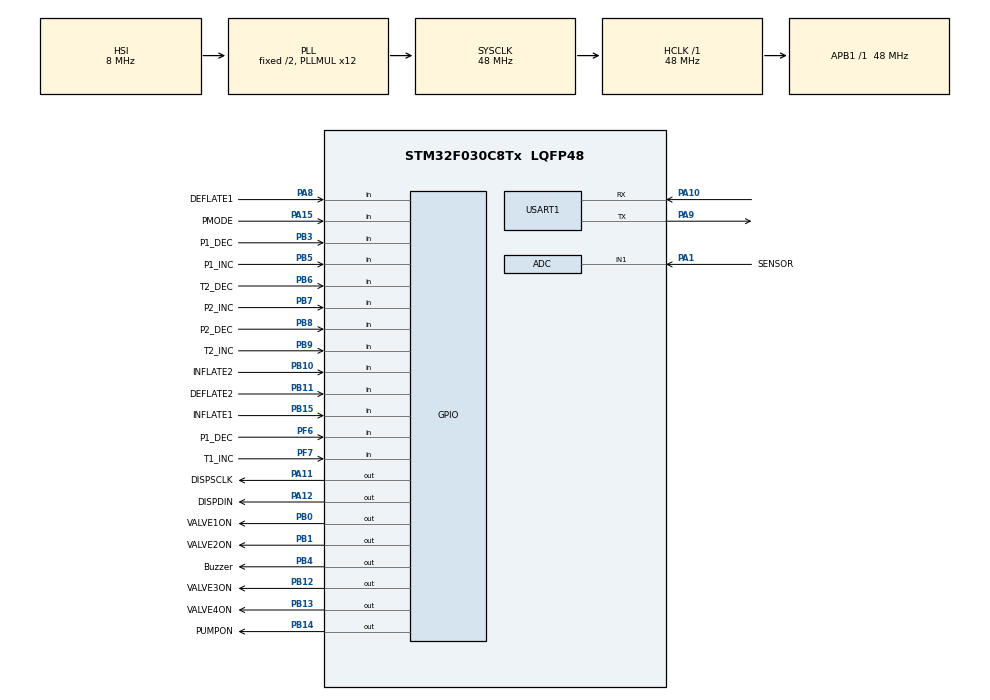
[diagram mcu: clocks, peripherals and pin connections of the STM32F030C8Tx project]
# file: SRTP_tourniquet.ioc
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ADC.ClockPrescaler=ADC_CLOCK_SYNC_PCLK_DIV4
Mcu.Family=STM32F0
Mcu.Name=STM32F030C8Tx
Mcu.Package=LQFP48
NVIC.ADC1_IRQn=true\:0\:0\:false\:false\:true\:true\:true\:true
NVIC.TIM6_IRQn=true\:0\:0\:false\:false\:true\:true\:true\:true
NVIC.USART1_IRQn=true\:0\:0\:false\:false\:true\:true\:true\:true
PA1.GPIO_Label=SENSOR
PA1.Mode=IN1
PA1.Signal=ADC_IN1
PA10.Mode=Asynchronous
PA10.Signal=USART1_RX
PA11.GPIO_Label=DISPSCLK
PA11.Signal=GPIO_Output
PA12.GPIO_Label=DISPDIN
PA12.Signal=GPIO_Output
PA13.Mode=Serial_Wire
PA13.Signal=SYS_SWDIO
PA14.Mode=Serial_Wire
PA14.Signal=SYS_SWCLK
PA15.GPIO_Label=PMODE
PA15.GPIO_PuPd=GPIO_PULLUP
PA15.Signal=GPIO_Input
PA8.GPIO_Label=DEFLATE1
PA8.GPIO_PuPd=GPIO_PULLUP
PA8.Signal=GPIO_Input
PA9.Mode=Asynchronous
PA9.Signal=USART1_TX
PB0.GPIO_Label=VALVE1ON
PB0.Signal=GPIO_Output
PB1.GPIO_Label=VALVE2ON
PB1.Signal=GPIO_Output
PB10.GPIO_Label=INFLATE2
PB10.GPIO_PuPd=GPIO_PULLUP
PB10.Signal=GPIO_Input
PB11.GPIO_Label=DEFLATE2
PB11.GPIO_PuPd=GPIO_PULLUP
PB11.Signal=GPIO_Input
PB12.GPIO_Label=VALVE3ON
PB12.Signal=GPIO_Output
PB13.GPIO_Label=VALVE4ON
PB13.Signal=GPIO_Output
PB14.GPIO_Label=PUMPON
PB14.Signal=GPIO_Output
PB15.GPIO_Label=INFLATE1
PB15.GPIO_PuPd=GPIO_PULLUP
PB15.Signal=GPIO_Input
PB3.GPIO_Label=P1_DEC
PB3.GPIO_PuPd=GPIO_PULLUP
PB3.Signal=GPIO_Input
PB4.GPIO_Label=Buzzer
PB4.GPIO_PuPd=GPIO_PULLDOWN
PB4.PinState=GPIO_PIN_RESET
PB4.Signal=GPIO_Output
PB5.GPIO_Label=P1_INC
PB5.GPIO_PuPd=GPIO_PULLUP
PB5.Signal=GPIO_Input
PB6.GPIO_Label=T2_DEC
PB6.GPIO_PuPd=GPIO_PULLUP
PB6.Signal=GPIO_Input
PB7.GPIO_Label=P2_INC
PB7.GPIO_PuPd=GPIO_PULLUP
PB7.Signal=GPIO_Input
PB8.GPIO_Label=P2_DEC
PB8.GPIO_PuPd=GPIO_PULLUP
PB8.Signal=GPIO_Input
PB9.GPIO_Label=T2_INC
PB9.GPIO_PuPd=GPIO_PULLUP
PB9.Signal=GPIO_Input
PF0-OSC_IN.Mode=HSE-External-Oscillator
PF0-OSC_IN.Signal=RCC_OSC_IN
PF1-OSC_OUT.Mode=HSE-External-Oscillator
PF1-OSC_OUT.Signal=RCC_OSC_OUT
PF6.GPIO_Label=P1_DEC
PF6.GPIO_PuPd=GPIO_PULLUP
PF6.Signal=GPIO_Input
PF7.GPIO_Label=T1_INC
PF7.GPIO_PuPd=GPIO_PULLUP
PF7.Signal=GPIO_Input
ProjectManager.HeapSize=0x200
ProjectManager.StackSize=0x400
ProjectManager.TargetToolchain=MDK-ARM V5.32
RCC.AHBFreq_Value=48000000
RCC.APB1Freq_Value=48000000
RCC.APB1TimFreq_Value=48000000
RCC.HCLKFreq_Value=48000000
RCC.PLLMUL=RCC_PLL_MUL12
RCC.SYSCLKFreq_VALUE=48000000
RCC.SYSCLKSource=RCC_SYSCLKSOURCE_PLLCLK
TIM6.AutoReloadPreload=TIM_AUTORELOAD_PRELOAD_ENABLE
TIM6.Period=60000
TIM6.Prescaler=48000-1
USART1.VirtualMode-Asynchronous=VM_ASYNC
VP_TIM6_VS_ClockSourceINT.Mode=Enable_Timer
board=custom

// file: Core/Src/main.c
/* USER CODE BEGIN Header */
/**
  ******************************************************************************
  * @file           : main.c
  * @brief          : Main program body
  ******************************************************************************
  * @attention
  *
  * Copyright (c) 2022 STMicroelectronics.
  * All rights reserved.
  *
  * This software is licensed under terms that can be found in the LICENSE file
  * in the root directory of this software component.
  * If no LICENSE file comes with this software, it is provided AS-IS.
  *
  ******************************************************************************
  */
/* USER CODE END Header */
#include "main.h"
#include "adc.h"
#include "tim.h"
#include "usart.h"
#include "gpio.h"

/* USER CODE BEGIN Includes */
#include "key.h"
#include "display.h"
/* USER CODE END Includes */

/* USER CODE BEGIN PTD */
typedef uint8_t u8;
typedef uint16_t u16;
typedef uint32_t u32;
/* USER CODE END PTD */

/* USER CODE BEGIN PV */
//时间变量
u8 setTime = 0;//设定时间
u8 curTime = 0;//当前时间
u8 curPres = 0;//当前压力,0-100kpa
u8 setPres = 0;//设定压力
u8 key;
u8 workStatue =0;//工作状态，未定时为0，开始定时正常工作为1，溢出为2
u8 buzzerWork = 0;//蜂鸣器工作状态，0为不工作，1为工作
/* USER CODE END PV */

void SystemClock_Config(void);

int main(void)
{
  /* USER CODE BEGIN 1 */

	//显示板芯片初始化

  /* USER CODE END 1 */

  /* MCU Configuration--------------------------------------------------------*/

  /* Reset of all peripherals, Initializes the Flash interface and the Systick. */
  HAL_Init();

  /* Configure the system clock */
  SystemClock_Config();

  /* Initialize all configured peripherals */
  MX_GPIO_Init();
  MX_ADC_Init();
  MX_USART1_UART_Init();
  MX_TIM6_Init();
  /* USER CODE BEGIN 2 */
	TM1640_Init();
	u8 isChangePress=0;
	HAL_GPIO_WritePin (GPIOB,GPIO_PIN_14,GPIO_PIN_SET);

  /* Infinite loop */
  /* USER CODE BEGIN WHILE */
  while (1)
  {
    //读取当前压力
	curPres = (u8)Get_Press();

		//扫描按键
		key = KEY_Scan(0);
		if(key)
			{
				buzzerWork =0;
				workStatue=1;
				switch(key)
				{ case KEY_Tdec: //T1-,设定时间-1min
					HAL_TIM_Base_Stop_IT(&htim6);//关闭定时器中断
						__HAL_TIM_CLEAR_FLAG(&htim6,TIM_FLAG_UPDATE);//清除标志位
					if(setTime>0){
						setTime--;
						curTime = setTime ;
					}
						HAL_TIM_Base_Start_IT(&htim6);//打开定时器中断
						break;
					case KEY_Tinc: //T1+,设定时间+1min
						__HAL_TIM_CLEAR_FLAG(&htim6,TIM_FLAG_UPDATE);//清除标志位
						setTime++;
						curTime = setTime ;
						HAL_TIM_Base_Start_IT(&htim6);//打开定时器中断break;
					 break;
					case KEY_Pdec: //P1-
						if(setPres>0)setPres--;break;
					case KEY_Pinc: //P1+
						setPres ++;break;
					case KEY_Pmode:
						if(isChangePress ==0)
						curPres=(u8)curPres*7.5;
						else
							curPres=(u8)curPres/7.5;
					isChangePress =!isChangePress ;
					break;

					//手动充气放气，优先级高于自动充气放气
					case KEY_Inflate:{
					//关闭自动控制中断(待求）
					HAL_GPIO_WritePin (GPIOB,GPIO_PIN_14,GPIO_PIN_SET);
					static u8 presGoal;
					static u8 firstSet=1;
					if(firstSet && isChangePress){
						presGoal=(u8)(curPres/7.5+GAP);
						firstSet = !firstSet ;
					}
					else if(firstSet && !isChangePress ){
						presGoal=curPres+GAP;
						firstSet = !firstSet ;
					}
					if(isChangePress ){
						if(((u8)curPres /7.5)<presGoal+FLAW &&((u8)curPres /7.5)>presGoal-FLAW){
							HAL_GPIO_WritePin (GPIOB,GPIO_PIN_14,GPIO_PIN_RESET);
							presGoal = 0;
							firstSet  = 1;
						}
					}
					else{
						if(curPres<presGoal+FLAW && curPres /7.5>presGoal-FLAW){
							HAL_GPIO_WritePin (GPIOB,GPIO_PIN_14,GPIO_PIN_RESET);
							presGoal = 0;
							firstSet  = 1;
					}
				}
				}
				break;
				case KEY_Deflate:{
					//关闭自动控制中断(待求）
					HAL_GPIO_WritePin (GPIOB,GPIO_PIN_0,GPIO_PIN_SET);
					static u8 presGoal;
					static u8 firstSet=1;
					if(firstSet && isChangePress){
						presGoal=(u8)(curPres/7.5-GAP);
						firstSet = !firstSet ;
					}
					else if(firstSet && !isChangePress ){
						presGoal=curPres-GAP;
						firstSet = !firstSet ;
					}
					if(isChangePress ){
						if(((u8)curPres /7.5)<presGoal+FLAW &&((u8)curPres /7.5)>presGoal-FLAW){
							HAL_GPIO_WritePin (GPIOB,GPIO_PIN_14,GPIO_PIN_RESET);
							presGoal = 0;
							firstSet  = 1;
						}
					}
					else{
						if(curPres<presGoal+FLAW && curPres /7.5>presGoal-FLAW){
							HAL_GPIO_WritePin (GPIOB,GPIO_PIN_14,GPIO_PIN_RESET);
							presGoal = 0;
							firstSet  = 1;
					}
				}
				}
				break;
				}
			}
		else delay_ms(10);
//操纵蜂鸣器工作
		if(buzzerWork ){
			HAL_GPIO_WritePin (GPIOB,GPIO_PIN_4,GPIO_PIN_SET);
			delay_ms(10);
		}
//显示当前工作状态指示灯
		TM1640_lightLCD(0x0D,workStatue);

//四个LCD显示数值
//每个LED组有3个LED，对应地址
		int count=0x00;
		u8 tmp1,tmp2;

		tmp1=curPres%10;
		tmp2 = curPres /10;
		for(count=0x02;count>=0x00;count--){
			TM1640_display (count,tmp1);
			tmp1=tmp2%10;
			tmp2=tmp2/10;
		}

		tmp1=setPres%10;
		tmp2 = setPres /10;
		for(count=0x05;count>0x02;count--){
			TM1640_display (count,tmp1);
			tmp1=tmp2%10;
			tmp2=tmp2/10;
		}

		tmp1=curTime %10;
		tmp2 = curTime  /10;
		for(count=0x08;count>0x05;count--){
			TM1640_display (count,tmp1);
			tmp1=tmp2%10;
			tmp2=tmp2/10;
		}

		tmp1=setTime %10;
		tmp2 = setTime  /10;
		for(count=0x0B;count>0x08;count--){
			TM1640_display (count,tmp1);
			tmp1=tmp2%10;
			tmp2=tmp2/10;
		}
		TM1640_lightLCD(0x0C,3);//其他灯全暗

    /* USER CODE END WHILE */

  }
}

void SystemClock_Config(void)
{
  RCC_OscInitTypeDef RCC_OscInitStruct = {0};
  RCC_ClkInitTypeDef RCC_ClkInitStruct = {0};
  RCC_PeriphCLKInitTypeDef PeriphClkInit = {0};

  /** Initializes the RCC Oscillators according to the specified parameters
  * in the RCC_OscInitTypeDef structure.
  */
  RCC_OscInitStruct.OscillatorType = RCC_OSCILLATORTYPE_HSI;
  RCC_OscInitStruct.HSIState = RCC_HSI_ON;
  RCC_OscInitStruct.HSICalibrationValue = RCC_HSICALIBRATION_DEFAULT;
  RCC_OscInitStruct.PLL.PLLState = RCC_PLL_ON;
  RCC_OscInitStruct.PLL.PLLSource = RCC_PLLSOURCE_HSI;
  RCC_OscInitStruct.PLL.PLLMUL = RCC_PLL_MUL12;
  RCC_OscInitStruct.PLL.PREDIV = RCC_PREDIV_DIV1;
  if (HAL_RCC_OscConfig(&RCC_OscInitStruct) != HAL_OK)
  {
    Error_Handler();
  }

  /** Initializes the CPU, AHB and APB buses clocks
  */
  RCC_ClkInitStruct.ClockType = RCC_CLOCKTYPE_HCLK|RCC_CLOCKTYPE_SYSCLK
                              |RCC_CLOCKTYPE_PCLK1;
  RCC_ClkInitStruct.SYSCLKSource = RCC_SYSCLKSOURCE_PLLCLK;
  RCC_ClkInitStruct.AHBCLKDivider = RCC_SYSCLK_DIV1;
  RCC_ClkInitStruct.APB1CLKDivider = RCC_HCLK_DIV1;

  if (HAL_RCC_ClockConfig(&RCC_ClkInitStruct, FLASH_LATENCY_1) != HAL_OK)
  {
    Error_Handler();
  }
  PeriphClkInit.PeriphClockSelection = RCC_PERIPHCLK_USART1;
  PeriphClkInit.Usart1ClockSelection = RCC_USART1CLKSOURCE_PCLK1;
  if (HAL_RCCEx_PeriphCLKConfig(&PeriphClkInit) != HAL_OK)
  {
    Error_Handler();
  }
}

void Error_Handler(void)
{
  __disable_irq();
  while (1)
  {
  }
}
